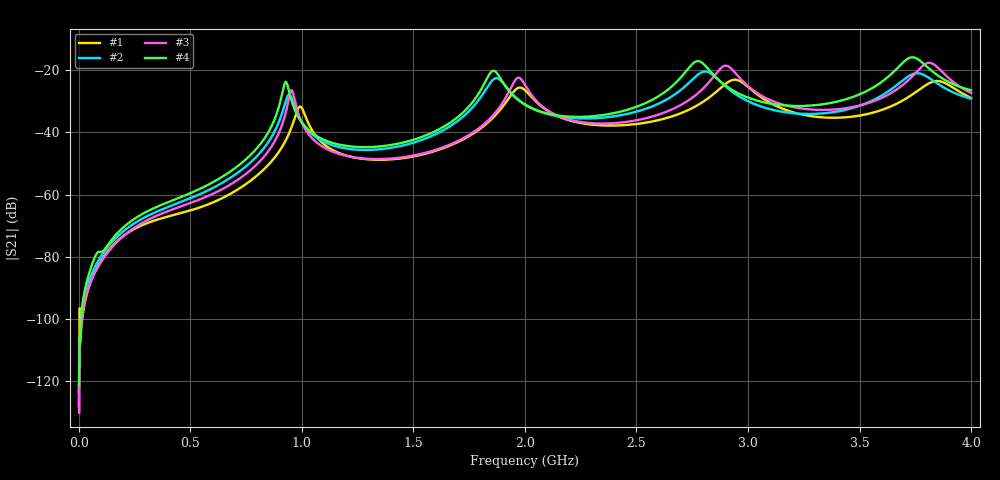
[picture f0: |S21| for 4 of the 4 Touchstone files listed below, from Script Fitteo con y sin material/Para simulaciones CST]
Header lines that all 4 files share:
! TOUCHSTONE file generated by CST MICROWAVE STUDIO
! Project name: ResonadorAnillo_PadsGndDesplazados_AnchoPistaPin.cst
! Header version: 2024
! Port assignment regex: !\s*Touchstone port\s*([0-9]+)\s*=\s*(CST MWS port|CST DES external port|CST DES block port)\s*(.+)\s* \(\"(.*)\"\)(\s*mode\s*([0-9]+))?.*
! Touchstone port assignment:
! Touchstone port 1 = CST MWS port 1 ("")
! Touchstone port 2 = CST MWS port 2 ("")
# GHz S MA R 62.45
Fixed: H = 1.56, L_AngTrans = 1, L_Base = 6.5, L_PadGND = 4, L_Pin = 4, L_conn = 4, L_sma = 8.5, R_Diel = 2.08, R_Pin = 0.45, R_sma = 2.58, T = 0.035, W_Base = 1.5, W_PadGND = 1.8, W_conn = 0.9, c = 3e+11, d_Borde = 0.27, f = 1e+09, s = 0.3
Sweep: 800 kHz to 4 GHz
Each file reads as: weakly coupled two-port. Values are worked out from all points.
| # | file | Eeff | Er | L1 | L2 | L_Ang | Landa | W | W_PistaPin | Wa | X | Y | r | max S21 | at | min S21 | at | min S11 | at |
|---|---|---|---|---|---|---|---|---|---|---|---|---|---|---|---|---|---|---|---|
| 1 | FR4-1GHZ-AIRE_3.s2p | 3.2262 | 4.3 | 41.7557 | 41.7557 | 8.68 | 167.023 | 2.6 | 2.5 | 2.6 | 113.294 | 113.294 | 26.5825 | -23.03 dB | 2.941 GHz | -123.5 dB | 800 kHz | -2.3 dB | 2.935 GHz |
| 2 | FR4-1GHZ-TEFLON_2.s2p | 3.2262 | 4.3 | 41.7557 | 41.7557 | 8.68 | 167.023 | 2.6 | 2.5 | 2.6 | 70 | 113.294 | 26.5825 | -20.39 dB | 2.808 GHz | -128.0 dB | 800 kHz | -2.6 dB | 2.805 GHz |
| 3 | ROGERS-1GHZ-AIRE_2.s2p | 2.76858 | 3.55 | 45.0747 | 45.0747 | 9 | 180.299 | 3.3 | 2.4 | 3.3 | 70 | 122.745 | 28.6954 | -17.59 dB | 3.812 GHz | -130.2 dB | 1.6 MHz | -2.9 dB | 2.896 GHz |
| 4 | ROGERS-1GHZ-TEFLON_2.s2p | 2.76858 | 3.55 | 45.0747 | 45.0747 | 9 | 180.299 | 3.3 | 2.4 | 3.3 | 70 | 122.745 | 28.6954 | -15.81 dB | 3.737 GHz | -121.4 dB | 800 kHz | -2.8 dB | 3.732 GHz |
